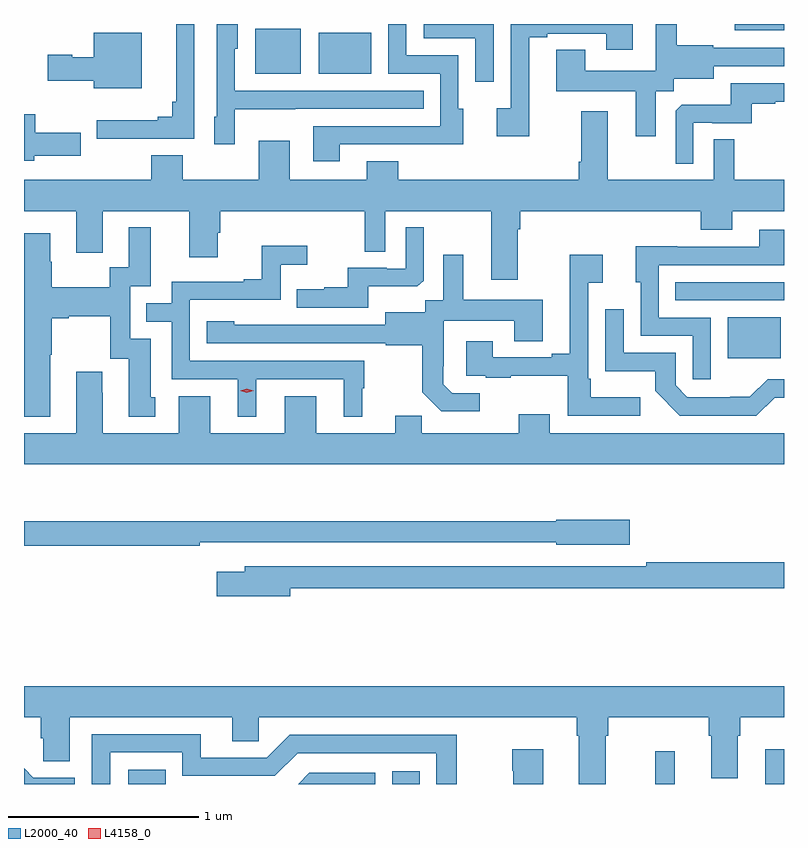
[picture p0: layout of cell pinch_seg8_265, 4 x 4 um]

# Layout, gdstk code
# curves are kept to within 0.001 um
import gdstk
lib = gdstk.Library(unit=1e-6, precision=1e-09)
def R(c, l, rs):  # rectangles x0, y0, x1, y1
    for r in rs: c.add(gdstk.rectangle(r[:2], r[2:], *l))
def P(c, l, *ps):  # polygons
    for p in ps: c.add(gdstk.Polygon(p, *l))
L2000_40 = (2000, 40)
L4158_0 = (4158, 0)

pinch_seg8_265 = lib.new_cell('pinch_seg8_265')
R(pinch_seg8_265, L2000_40, [(574.905,1160.105,575.103,1160.179), (576.294,1160.105,576.44,1160.173), (577.678,1160.105,577.781,1160.278), (578.258,1160.105,578.356,1160.287), (578.06,1162.346,578.338,1162.561), (577.783,1162.65,578.356,1162.746), (575.573,1163.843,575.812,1164.079), (575.906,1163.843,576.184,1164.058), (578.097,1164.072,578.356,1164.105)])
P(pinch_seg8_265, L2000_40, [(576.019,1163.472),(576.449,1163.472),(576.449,1163.471),(576.667,1163.471),(576.667,1163.658),(576.642,1163.658),(576.642,1163.94),(576.369,1163.94),(576.369,1164.105),(576.273,1164.105),(576.273,1163.844),(576.546,1163.844),(576.546,1163.568),(575.879,1163.568),(575.879,1163.382),(576.019,1163.382)],
  [(575.466,1163.657),(575.783,1163.657),(575.783,1163.658),(576.461,1163.658),(576.461,1163.754),(575.466,1163.754),(575.466,1163.976),(575.482,1163.976),(575.482,1164.105),(575.37,1164.105),(575.37,1163.616),(575.357,1163.616),(575.357,1163.472),(575.466,1163.472)],
  [(576.828,1164.105),(576.459,1164.105),(576.459,1164.03),(576.732,1164.03),(576.732,1163.802),(576.828,1163.802)],
  [(575.253,1164.105),(575.156,1164.105),(575.156,1163.695),(575.137,1163.695),(575.137,1163.618),(575.06,1163.618),(575.06,1163.599),(574.739,1163.599),(574.739,1163.502),(575.253,1163.502)],
  [(577.681,1163.752),(577.776,1163.752),(577.776,1163.816),(577.987,1163.816),(577.987,1163.883),(578.356,1163.883),(578.356,1163.979),(577.983,1163.979),(577.983,1163.992),(577.791,1163.992),(577.791,1164.105),(577.682,1164.105),(577.682,1164.101),(577.68,1164.101),(577.68,1163.86),(577.309,1163.86),(577.309,1163.969),(577.157,1163.969),(577.157,1163.75),(577.577,1163.75),(577.577,1163.514),(577.681,1163.514)],
  [(577.015,1164.036),(577.111,1164.036),(577.111,1164.054),(577.421,1164.054),(577.421,1163.97),(577.561,1163.97),(577.561,1164.105),(576.918,1164.105),(576.918,1163.662),(576.843,1163.662),(576.843,1163.514),(577.015,1163.514)],
  [(574.975,1164.058),(574.724,1164.058),(574.724,1163.929),(574.611,1163.929),(574.611,1163.942),(574.482,1163.942),(574.482,1163.807),(574.724,1163.807),(574.724,1163.768),(574.975,1163.768)],
  [(577.878,1163.586),(577.978,1163.586),(577.978,1163.583),(578.186,1163.583),(578.186,1163.685),(578.309,1163.685),(578.309,1163.696),(578.356,1163.696),(578.356,1163.793),(578.076,1163.793),(578.076,1163.681),(577.817,1163.681),(577.785,1163.649),(577.785,1163.369),(577.878,1163.369)],
  [(574.41,1163.411),(574.654,1163.411),(574.654,1163.533),(574.414,1163.533),(574.414,1163.629),(574.356,1163.629),(574.356,1163.384),(574.41,1163.384)],
  [(577.986,1163.498),(577.986,1163.284),(577.429,1163.284),(577.429,1163.647),(577.289,1163.647),(577.289,1163.38),(577.277,1163.38),(577.277,1163.284),(576.325,1163.284),(576.325,1163.383),(576.161,1163.383),(576.161,1163.284),(575.755,1163.284),(575.755,1163.491),(575.591,1163.491),(575.591,1163.284),(575.191,1163.284),(575.191,1163.413),(575.027,1163.413),(575.027,1163.284),(574.356,1163.284),(574.356,1163.12),(574.631,1163.12),(574.631,1162.902),(574.771,1162.902),(574.771,1163.12),(575.225,1163.12),(575.225,1162.878),(575.377,1162.878),(575.377,1163.007),(575.39,1163.007),(575.39,1163.12),(576.15,1163.12),(576.15,1162.906),(576.258,1162.906),(576.258,1163.12),(576.815,1163.12),(576.815,1162.758),(576.955,1162.758),(576.955,1163.024),(576.968,1163.024),(576.968,1163.12),(577.919,1163.12),(577.919,1163.021),(578.083,1163.021),(578.083,1163.12),(578.356,1163.12),(578.356,1163.284),(578.095,1163.284),(578.095,1163.498)],
  [(574.495,1162.363),(574.503,1162.363),(574.503,1162.556),(574.591,1162.556),(574.591,1162.568),(574.811,1162.568),(574.811,1162.344),(574.907,1162.344),(574.907,1162.038),(575.047,1162.038),(575.047,1162.14),(575.023,1162.14),(575.023,1162.449),(574.914,1162.449),(574.914,1162.725),(575.023,1162.725),(575.023,1163.035),(574.907,1163.035),(574.907,1162.826),(574.806,1162.826),(574.806,1162.72),(574.503,1162.72),(574.503,1162.854),(574.495,1162.854),(574.495,1163.005),(574.356,1163.005),(574.356,1162.037),(574.495,1162.037)],
  [(576.169,1162.724),(576.427,1162.724),(576.459,1162.755),(576.459,1163.035),(576.366,1163.035),(576.366,1162.818),(576.266,1162.818),(576.266,1162.821),(576.059,1162.821),(576.059,1162.72),(575.935,1162.72),(575.935,1162.708),(575.791,1162.708),(575.791,1162.611),(576.169,1162.611)],
  [(577.971,1162.56),(577.698,1162.56),(577.698,1162.836),(578.356,1162.836),(578.356,1163.023),(578.225,1163.023),(578.225,1162.932),(577.795,1162.932),(577.795,1162.934),(577.577,1162.934),(577.577,1162.746),(577.602,1162.746),(577.602,1162.464),(577.875,1162.464),(577.875,1162.236),(577.971,1162.236)],
  [(575.578,1162.236),(576.038,1162.236),(576.038,1162.037),(576.136,1162.037),(576.136,1162.188),(576.148,1162.188),(576.148,1162.332),(575.229,1162.332),(575.229,1162.653),(575.706,1162.653),(575.706,1162.838),(575.848,1162.838),(575.848,1162.937),(575.608,1162.937),(575.608,1162.762),(575.513,1162.762),(575.513,1162.749),(575.133,1162.749),(575.133,1162.635),(574.999,1162.635),(574.999,1162.539),(575.133,1162.539),(575.133,1162.236),(575.48,1162.236),(575.48,1162.037),(575.578,1162.037)],
  [(576.754,1162.161),(576.609,1162.161),(576.562,1162.208),(576.562,1162.303),(576.564,1162.303),(576.564,1162.544),(576.935,1162.544),(576.935,1162.435),(577.087,1162.435),(577.087,1162.654),(576.667,1162.654),(576.667,1162.891),(576.563,1162.891),(576.563,1162.652),(576.468,1162.652),(576.468,1162.588),(576.257,1162.588),(576.257,1162.521),(575.463,1162.522),(575.463,1162.54),(575.319,1162.54),(575.319,1162.425),(576.261,1162.425),(576.261,1162.413),(576.453,1162.413),(576.453,1162.167),(576.553,1162.067),(576.754,1162.067)],
  [(577.6,1162.141),(577.339,1162.141),(577.339,1162.237),(577.326,1162.237),(577.326,1162.742),(577.402,1162.742),(577.402,1162.891),(577.229,1162.891),(577.229,1162.369),(577.133,1162.369),(577.133,1162.35),(576.823,1162.35),(576.823,1162.435),(576.683,1162.435),(576.683,1162.254),(576.787,1162.254),(576.787,1162.242),(576.919,1162.242),(576.919,1162.253),(577.218,1162.253),(577.218,1162.044),(577.6,1162.044)],
  [(578.306,1162.139),(578.356,1162.139),(578.356,1162.236),(578.271,1162.236),(578.177,1162.142),(578.072,1162.142),(578.072,1162.14),(577.848,1162.14),(577.785,1162.203),(577.785,1162.374),(577.512,1162.374),(577.512,1162.603),(577.416,1162.603),(577.416,1162.277),(577.678,1162.277),(577.678,1162.175),(577.808,1162.044),(578.211,1162.044)],
  [(575.171,1162.147),(575.171,1161.952),(574.771,1161.952),(574.771,1162.163),(574.768,1162.163),(574.768,1162.276),(574.631,1162.276),(574.631,1161.952),(574.356,1161.952),(574.356,1161.788),(578.356,1161.788),(578.356,1161.952),(577.123,1161.952),(577.123,1162.051),(576.959,1162.051),(576.959,1161.952),(576.449,1161.952),(576.449,1162.043),(576.311,1162.043),(576.311,1161.952),(575.893,1161.952),(575.893,1162.147),(575.729,1162.147),(575.729,1161.952),(575.335,1161.952),(575.335,1162.147)],
  [(575.282,1161.378),(577.158,1161.378),(577.158,1161.365),(577.543,1161.365),(577.543,1161.495),(577.158,1161.495),(577.158,1161.487),(574.356,1161.487),(574.356,1161.358),(575.282,1161.358)],
  [(575.758,1161.136),(578.356,1161.136),(578.356,1161.272),(577.63,1161.272),(577.63,1161.252),(575.519,1161.252),(575.519,1161.223),(575.37,1161.223),(575.37,1161.094),(575.758,1161.094)],
  [(577.417,1160.36),(577.43,1160.36),(577.43,1160.456),(577.961,1160.456),(577.961,1160.36),(577.973,1160.36),(577.973,1160.136),(578.113,1160.136),(578.113,1160.36),(578.126,1160.36),(578.126,1160.456),(578.356,1160.456),(578.356,1160.62),(574.356,1160.62),(574.356,1160.456),(574.445,1160.456),(574.445,1160.347),(574.458,1160.347),(574.458,1160.224),(574.597,1160.224),(574.597,1160.456),(575.453,1160.456),(575.453,1160.329),(575.592,1160.329),(575.592,1160.456),(577.265,1160.456),(577.265,1160.36),(577.277,1160.36),(577.277,1160.105),(577.417,1160.105)],
  [(574.809,1160.271),(575.19,1160.271),(575.19,1160.148),(575.676,1160.148),(575.796,1160.268),(576.525,1160.268),(576.525,1160.105),(576.634,1160.105),(576.634,1160.364),(575.754,1160.364),(575.634,1160.244),(575.287,1160.244),(575.287,1160.367),(574.713,1160.367),(574.713,1160.105),(574.809,1160.105)],
  [(577.09,1160.287),(576.925,1160.287),(576.925,1160.174),(576.932,1160.174),(576.932,1160.105),(577.09,1160.105)],
  [(574.623,1160.139),(574.404,1160.139),(574.356,1160.187),(574.356,1160.105),(574.623,1160.105)],
  [(576.204,1160.163),(575.858,1160.163),(575.8,1160.105),(576.204,1160.105)])
P(pinch_seg8_265, L4158_0, [(575.529,1162.165),(575.494,1162.175),(575.493,1162.175),(575.494,1162.175),(575.529,1162.185),(575.564,1162.175),(575.565,1162.175),(575.564,1162.175)])

lib.write_gds('pinch_seg8_265.gds')
